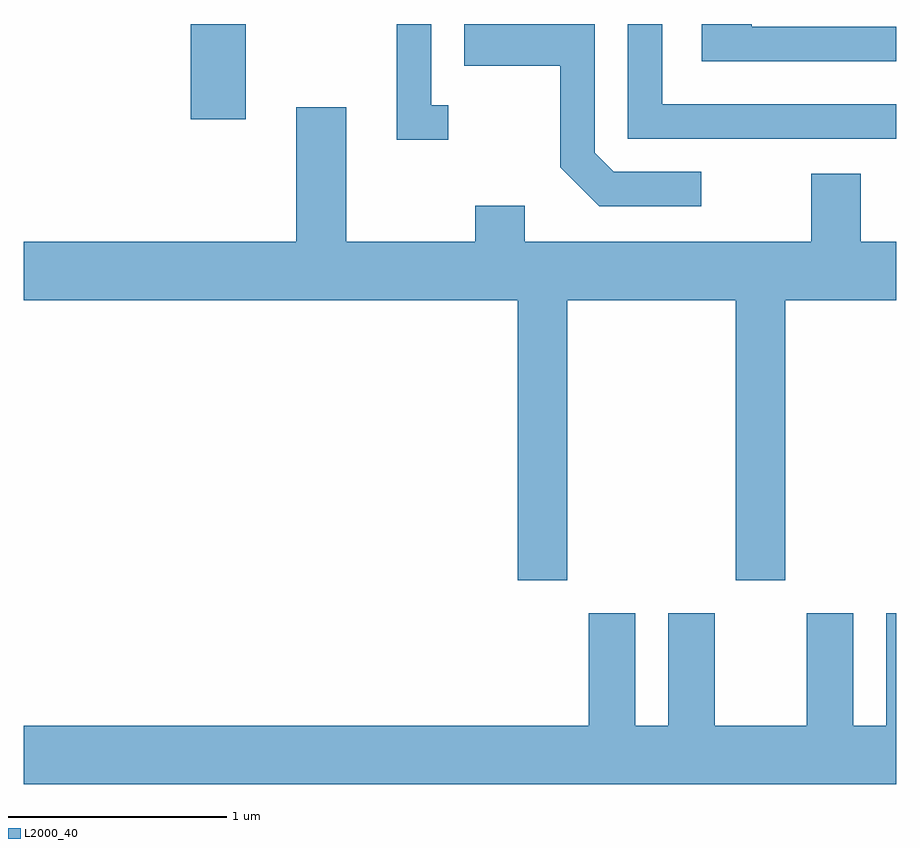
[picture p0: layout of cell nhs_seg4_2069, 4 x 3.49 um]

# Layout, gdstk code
import gdstk
lib = gdstk.Library(unit=1e-6, precision=1e-09)
def R(c, l, rs):  # rectangles x0, y0, x1, y1
    for r in rs: c.add(gdstk.rectangle(r[:2], r[2:], *l))
def P(c, l, *ps):  # polygons
    for p in ps: c.add(gdstk.Polygon(p, *l))
L2000_40 = (2000, 40)

nhs_seg4_2069 = lib.new_cell('nhs_seg4_2069')
R(nhs_seg4_2069, L2000_40, [(246.376,1315.546,246.629,1315.982)])
P(nhs_seg4_2069, L2000_40, [(249.611,1315.969),(248.949,1315.969),(248.949,1315.982),(248.721,1315.982),(248.721,1315.811),(249.611,1315.811)],
  [(248.718,1315.304),(248.317,1315.304),(248.229,1315.392),(248.229,1315.982),(247.631,1315.982),(247.631,1315.791),(248.071,1315.791),(248.071,1315.324),(248.249,1315.146),(248.718,1315.146)],
  [(249.611,1315.614),(248.539,1315.614),(248.539,1315.982),(248.381,1315.982),(248.381,1315.456),(249.611,1315.456)],
  [(247.558,1315.609),(247.479,1315.609),(247.479,1315.982),(247.321,1315.982),(247.321,1315.451),(247.558,1315.451)],
  [(248.104,1314.716),(248.876,1314.716),(248.876,1313.431),(249.104,1313.431),(249.104,1314.716),(249.611,1314.716),(249.611,1314.984),(249.449,1314.984),(249.449,1315.294),(249.221,1315.294),(249.221,1314.984),(247.909,1314.984),(247.909,1315.149),(247.681,1315.149),(247.681,1314.984),(247.089,1314.984),(247.089,1315.599),(246.861,1315.599),(246.861,1314.984),(245.611,1314.984),(245.611,1314.716),(247.876,1314.716),(247.876,1313.431),(248.104,1313.431)],
  [(249.611,1313.279),(249.566,1313.279),(249.566,1312.764),(249.414,1312.764),(249.414,1313.279),(249.201,1313.279),(249.201,1312.764),(248.779,1312.764),(248.779,1313.279),(248.566,1313.279),(248.566,1312.764),(248.414,1312.764),(248.414,1313.279),(248.201,1313.279),(248.201,1312.764),(245.611,1312.764),(245.611,1312.496),(249.611,1312.496)])

lib.write_gds('nhs_seg4_2069.gds')
